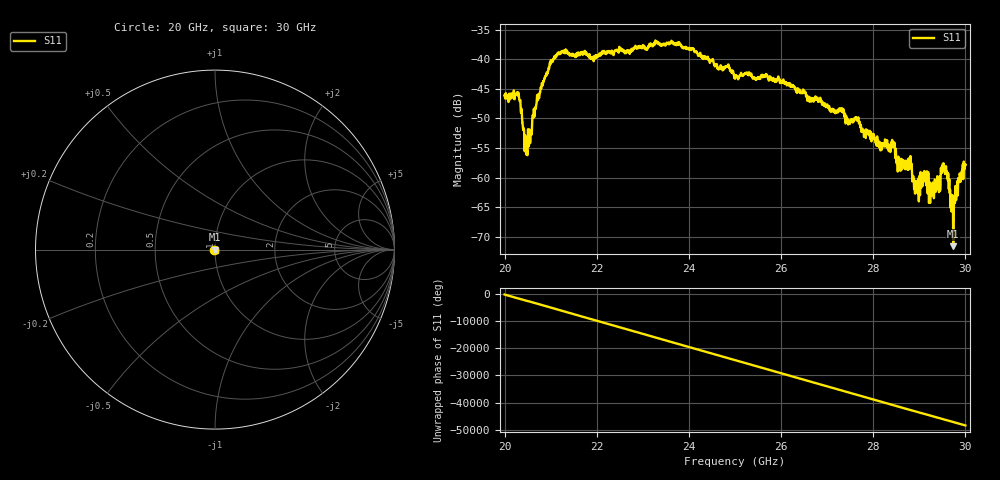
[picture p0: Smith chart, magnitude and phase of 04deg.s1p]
#  HZ  S  RI  R  50.00
! Rohde & Schwarz ZVA40 4Ports - Version 3.90 - 1145.1110k42 SN: 100403
! Date: 2023-10-03 11:35:09
! Measurement: S12
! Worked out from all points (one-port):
!   5001 points, 20 GHz to 30 GHz, reference 50 ohm
!   lowest |S11| = -71.6 dB at 29.74 GHz (marker M1), VSWR 1.00, Z = 50 - j0.0074 ohm
!   |S11| at or under -10 dB: start of sweep to end of sweep
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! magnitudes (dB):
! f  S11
! 20 GHz  -46.1
! 20.29 GHz  -45.7
! 20.45 GHz  -52.9
! 20.48 GHz  -55.4
! 20.83 GHz  -44.3
! 21.03 GHz  -40.2
! 21.25 GHz  -38.7
! 21.92 GHz  -39.6
! 22.5 GHz  -38.3
! 23.75 GHz  -37.5
! 25 GHz  -43.3
! 26.25 GHz  -44.5
! 27.31 GHz  -48.5
! 27.5 GHz  -50.5
! 27.66 GHz  -50.1
! 28.15 GHz  -54.1
! 28.42 GHz  -54.7
! 28.55 GHz  -56.5
! 28.75 GHz  -58.7
! 28.94 GHz  -61.2
! 29.12 GHz  -60.2
! 29.28 GHz  -61.5
! 29.55 GHz  -59.1
! 29.62 GHz  -60.5
! 29.7 GHz  -64.2
! 29.74 GHz  -71.6
! 29.89 GHz  -60.7
! 30 GHz  -57.8
